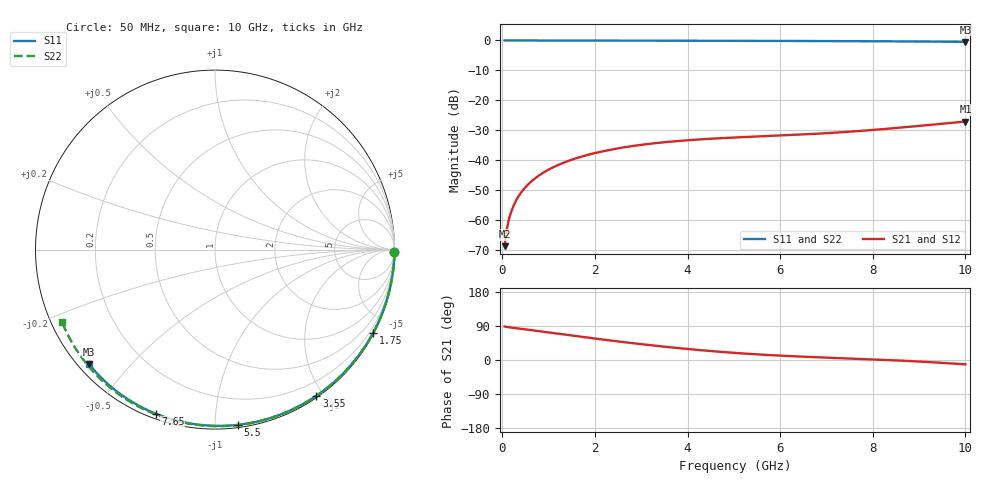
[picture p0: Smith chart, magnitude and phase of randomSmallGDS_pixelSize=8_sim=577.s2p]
! freq	dB(S11)	phase(S11)	dB(S12)	phase(S12)
!  dB(S21)	phase(S21)	dB(S22)	phase(S22)
!S-par simulation data
#  GHz  S  DB  R 50
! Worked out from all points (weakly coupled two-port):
!   200 points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, 50 MHz to 10 GHz, reference 50 ohm
!   highest |S21| = -27.06 dB at 10 GHz (marker M1); lowest = -68.6 dB at 50 MHz (marker M2)
!   lowest |S11| = -0.5 dB at 10 GHz (marker M3), VSWR 37.80, Z = 1.52 - j19.3 ohm
!   |S11| at or under -10 dB: nowhere
!   |S22| runs from -0.5 to 0.0 dB; largest |S21 - S12| = 0
!   S11 on the Smith chart (normalised r, x): 50 MHz: open; 1.75 GHz: 0.04, -4.02; 3.55 GHz: 0.02, -1.91; 5.5 GHz: 0.02, -1.14; 7.65 GHz: 0.02, -0.70; 10 GHz: 0.03, -0.39
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0.05  -0.00 -0.8  -68.64 88.4  -68.64 88.4  -0.00 -0.9
0.1  -0.00 -1.6  -62.70 87.2  -62.70 87.2  -0.00 -1.8
0.15  -0.00 -2.4  -59.25 86.2  -59.25 86.2  -0.00 -2.8
0.2  -0.00 -3.3  -56.80 85.5  -56.80 85.5  -0.00 -3.7
0.25  -0.00 -4.1  -54.90 84.7  -54.90 84.7  -0.00 -4.6
0.35  -0.00 -5.7  -52.03 83.2  -52.03 83.2  -0.00 -6.4
0.5  -0.01 -8.1  -48.98 80.8  -48.98 80.8  -0.01 -9.1
0.7  -0.01 -11.3  -46.11 77.6  -46.11 77.6  -0.01 -12.8
1  -0.02 -16.1  -43.10 72.7  -43.10 72.7  -0.02 -18.2
1.35  -0.03 -21.7  -40.64 67.0  -40.64 67.0  -0.03 -24.4
1.75  -0.04 -27.9  -38.59 60.5  -38.59 60.5  -0.04 -31.5
2.5  -0.05 -39.5  -36.00 49.0  -36.00 49.0  -0.06 -44.5
3.4  -0.07 -53.0  -34.11 36.4  -34.11 36.4  -0.08 -59.5
3.55  -0.08 -55.2  -33.88 34.5  -33.88 34.5  -0.08 -62.0
4.3  -0.09 -66.0  -32.98 25.7  -32.98 25.7  -0.11 -74.0
5.05  -0.12 -76.4  -32.35 18.5  -32.35 18.5  -0.13 -85.5
5.5  -0.13 -82.5  -32.05 14.9  -32.05 14.9  -0.15 -92.2
6.7  -0.19 -98.1  -31.20 7.7  -31.20 7.7  -0.21 -109.5
7.65  -0.25 -109.9  -30.28 3.4  -30.28 3.4  -0.28 -122.7
8.35  -0.30 -118.4  -29.41 -0.1  -29.41 -0.1  -0.33 -132.2
9.2  -0.38 -128.4  -28.23 -5.4  -28.23 -5.4  -0.42 -143.7
10  -0.46 -137.8  -27.06 -11.4  -27.06 -11.4  -0.51 -154.5
